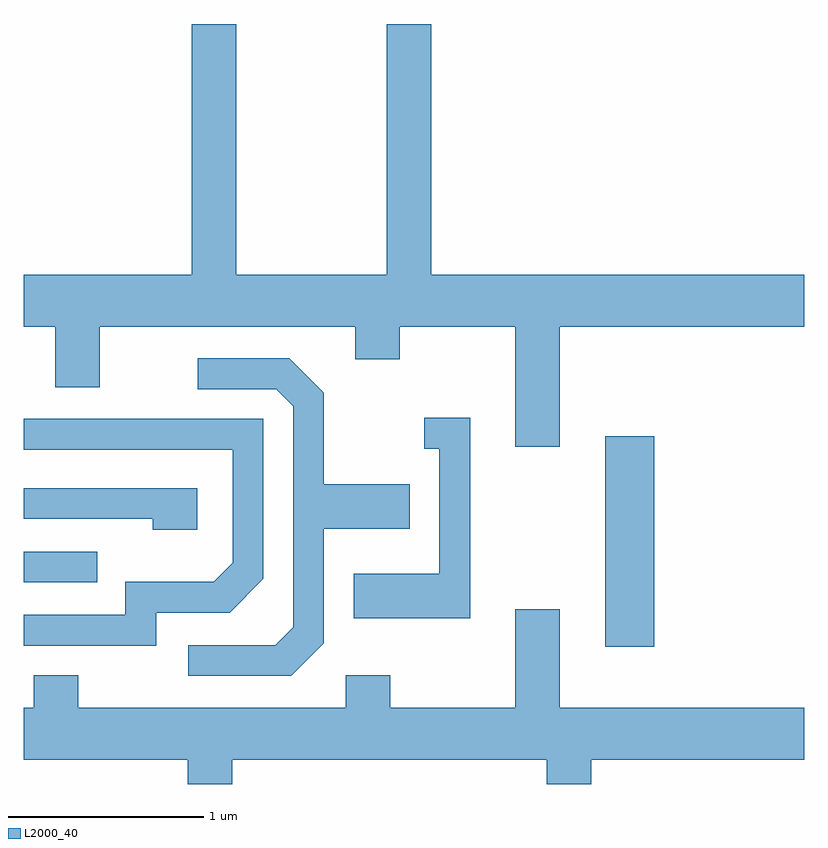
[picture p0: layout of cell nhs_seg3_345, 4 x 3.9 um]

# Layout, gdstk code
import gdstk
lib = gdstk.Library(unit=1e-6, precision=1e-09)
def R(c, l, rs):  # rectangles x0, y0, x1, y1
    for r in rs: c.add(gdstk.rectangle(r[:2], r[2:], *l))
def P(c, l, *ps):  # polygons
    for p in ps: c.add(gdstk.Polygon(p, *l))
L2000_40 = (2000, 40)

nhs_seg3_345 = lib.new_cell('nhs_seg3_345')
R(nhs_seg3_345, L2000_40, [(198.591,1126.596,198.844,1127.674), (195.611,1126.926,195.988,1127.084)])
P(nhs_seg3_345, L2000_40, [(198.359,1128.236),(199.611,1128.236),(199.611,1128.504),(197.699,1128.504),(197.699,1129.789),(197.471,1129.789),(197.471,1128.504),(196.699,1128.504),(196.699,1129.789),(196.471,1129.789),(196.471,1128.504),(195.611,1128.504),(195.611,1128.236),(195.771,1128.236),(195.771,1127.926),(195.999,1127.926),(195.999,1128.236),(197.311,1128.236),(197.311,1128.071),(197.539,1128.071),(197.539,1128.236),(198.131,1128.236),(198.131,1127.621),(198.359,1127.621)],
  [(197.149,1126.614),(197.149,1127.201),(197.589,1127.201),(197.589,1127.429),(197.149,1127.429),(197.149,1127.897),(196.972,1128.074),(196.503,1128.074),(196.503,1127.916),(196.904,1127.916),(196.991,1127.829),(196.991,1126.697),(196.899,1126.604),(196.453,1126.604),(196.453,1126.446),(196.982,1126.446)],
  [(197.899,1127.769),(197.663,1127.769),(197.663,1127.611),(197.741,1127.611),(197.741,1126.969),(197.301,1126.969),(197.301,1126.741),(197.899,1126.741)],
  [(196.289,1126.771),(196.667,1126.771),(196.839,1126.944),(196.839,1127.764),(195.611,1127.764),(195.611,1127.606),(196.681,1127.606),(196.681,1127.027),(196.584,1126.929),(196.131,1126.929),(196.131,1126.759),(195.611,1126.759),(195.611,1126.601),(196.289,1126.601)],
  [(196.499,1127.409),(195.611,1127.409),(195.611,1127.251),(196.271,1127.251),(196.271,1127.196),(196.499,1127.196)],
  [(196.679,1126.016),(198.291,1126.016),(198.291,1125.892),(198.519,1125.892),(198.519,1126.016),(199.611,1126.016),(199.611,1126.284),(198.359,1126.284),(198.359,1126.789),(198.131,1126.789),(198.131,1126.284),(197.489,1126.284),(197.489,1126.449),(197.261,1126.449),(197.261,1126.284),(195.889,1126.284),(195.889,1126.449),(195.661,1126.449),(195.661,1126.284),(195.611,1126.284),(195.611,1126.016),(196.451,1126.016),(196.451,1125.892),(196.679,1125.892)])

lib.write_gds('nhs_seg3_345.gds')
